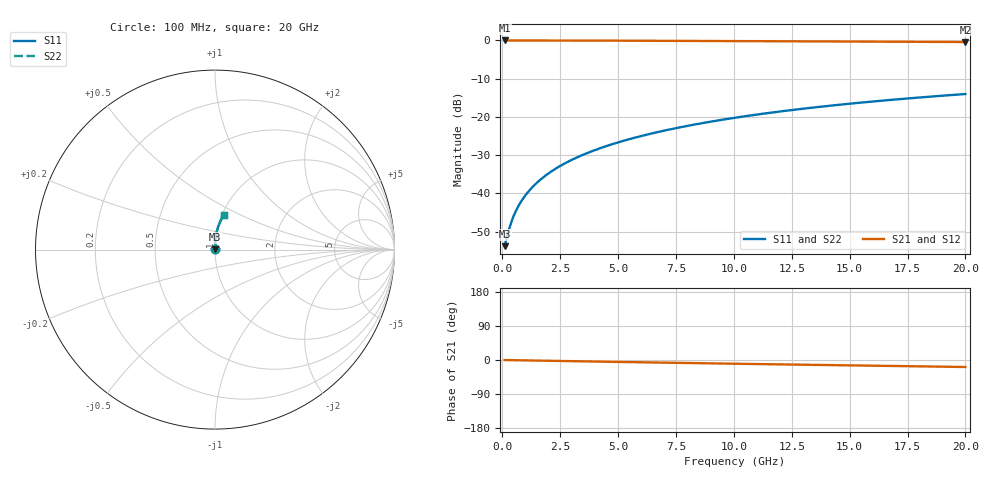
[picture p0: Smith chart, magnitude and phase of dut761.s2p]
! Touchstone file exported from HFSS 2024.1.0
!  File:  C:/UserFiles/LocalFiles/RDL_TSV_Batchsim/temp_RDL_top_761_1779852220.aedt
!  Generated:  11:26:02 AM May 27, 2026
!  Design:  RDL_top
!  Project:  temp_RDL_top_761_1779852220
!  Setup:  Setup1
!  Solution:  Sweep
! Variables:
!  dtsv = 10.80580581um
!  hbump = 3um
!  htsv = 68.48um
!  ldown = 100um
!  lrdl = 238.8um
!  p = 40
!  p1 = 42.31um
!  rhole = 1um
!  t = 450um
!  tdown = 3.915915916um
!  trdl = 2.86um
!  wdown = 15.38538539um
!  wrdl = 19.24um
# GHz S MA R 50.000000
! Terminal data exported
! Port[1] = Box2_T1
! Port[2] = Box2_T2
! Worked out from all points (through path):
!   200 points, 100 MHz to 20 GHz, reference 50 ohm
!   highest |S21| = -0.02 dB at 100 MHz (marker M1); lowest = -0.4 dB at 20 GHz (marker M2)
!   group delay of S21, straight-line fit = 2.55 ps
!   lowest |S11| = -53.8 dB at 100 MHz (marker M3), VSWR 1.00, Z = 50.2 + j0.0997 ohm
!   |S11| at or under -10 dB: start of sweep to end of sweep
!   |S22| runs from -53.8 to -14.0 dB; largest |S21 - S12| = 3e-15
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0.1  0.002048 29.0  0.9982 -0.1  0.9982 -0.1  0.002048 29.0
! Gamma 0 0 0 0
! Port Impedance 50 0 50 0
0.3  0.003482 57.0  0.9981 -0.3  0.9981 -0.3  0.003482 57.0
0.4  0.004316 63.0  0.998 -0.4  0.998 -0.4  0.004316 63.0
0.5  0.005164 67.0  0.9979 -0.5  0.9979 -0.5  0.005164 67.0
0.6  0.006017 70.0  0.9978 -0.6  0.9978 -0.6  0.006017 70.0
0.8  0.007733 74.0  0.9977 -0.8  0.9977 -0.8  0.007733 74.0
1  0.009464 76.7  0.9975 -1.1  0.9975 -1.1  0.009464 76.7
1.2  0.01121 78.7  0.9974 -1.3  0.9974 -1.3  0.01121 78.7
1.4  0.01297 80.2  0.9972 -1.5  0.9972 -1.5  0.01297 80.2
1.7  0.01564 81.8  0.997 -1.8  0.997 -1.8  0.01564 81.8
2.2  0.02015 83.6  0.9965 -2.3  0.9965 -2.3  0.02015 83.6
2.8  0.02563 84.9  0.9957 -2.9  0.9957 -2.9  0.02563 84.9
3.5  0.03214 85.8  0.9946 -3.6  0.9946 -3.6  0.03214 85.8
4.2  0.03877 86.4  0.9934 -4.3  0.9934 -4.3  0.03877 86.3
5  0.04648 86.6  0.9918 -5.1  0.9918 -5.1  0.04648 86.6
5.9  0.05531 86.6  0.9898 -6.0  0.9898 -6.0  0.05531 86.6
6.8  0.0643 86.4  0.9877 -6.8  0.9877 -6.8  0.0643 86.4
8.4  0.08057 85.7  0.9837 -8.3  0.9837 -8.3  0.08056 85.7
10.1  0.09812 84.6  0.9793 -9.9  0.9793 -9.9  0.09811 84.6
13.4  0.1324 81.8  0.9705 -12.8  0.9705 -12.8  0.1324 81.8
16.7  0.1662 78.8  0.9616 -15.7  0.9616 -15.7  0.1662 78.8
20  0.1992 75.8  0.9525 -18.5  0.9525 -18.5  0.1992 75.8
